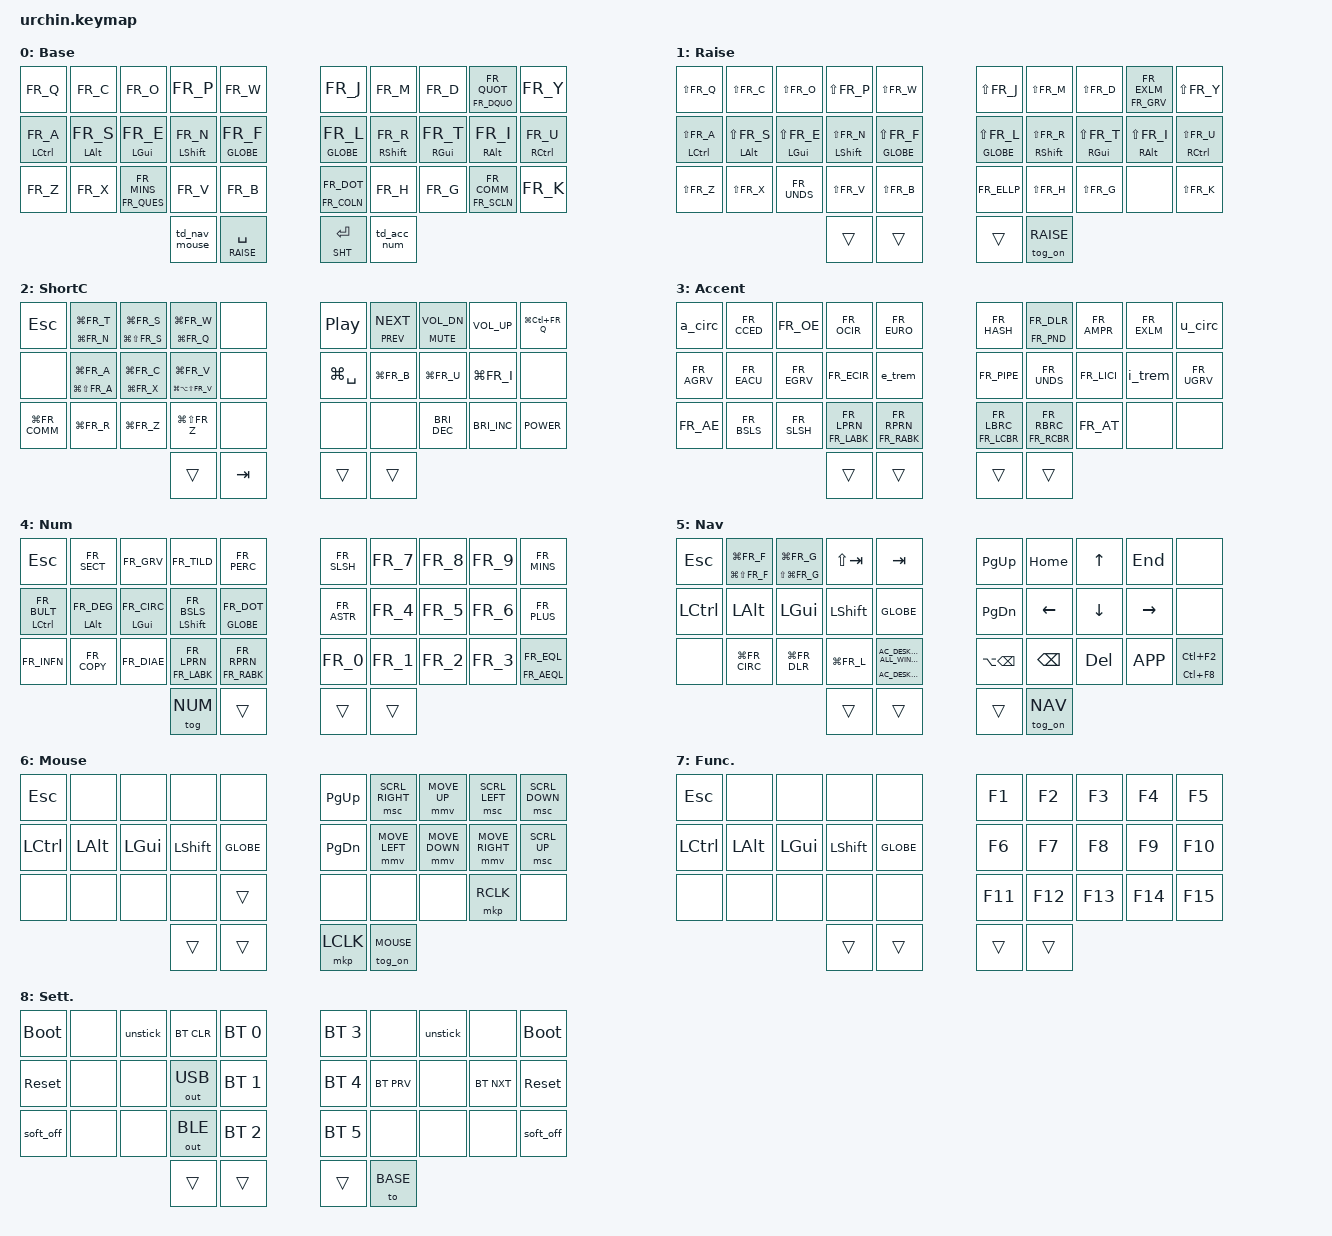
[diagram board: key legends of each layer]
/*
 * Copyright (c) 2020 duckyb
 *
 * SPDX-License-Identifier: MIT
 */

#include <behaviors.dtsi>
#include <dt-bindings/zmk/keys.h>
#include <dt-bindings/zmk/bt.h>
#include <dt-bindings/zmk/outputs.h>
#include <dt-bindings/zmk/pointing.h>
#include "keymap_french.h"

#define SHOW_WIN 	C_AC_DESKTOP_SHOW_ALL_WINDOWS
#define SHOW_APP  	C_AC_DESKTOP_SHOW_ALL_APPLICATIONS

#define TD_TIMING	500
#define QT_TIMING	300

// Layer definitions
#define BASE 0
#define RAISE 1
#define SHT 2
#define ACCENT 3
#define NUM 4
#define NAV 5
#define MOUSE 6
#define FNC 7
#define SETTINGS 8
// -----------------


&lt {
    tapping-term-ms = <300>; 
};

&sk {
	// don't release mods on other mods presses
	ignore-modifiers;
	quick-release; 
};


/ {
	behaviors {
		// Enables switching between layers NAV and Function
		// by performing a tap-dance sequence.
		td_nav_mouse: td_nav_mouse {
            compatible = "zmk,behavior-tap-dance";
            #binding-cells = <0>;
            tapping-term-ms = <TD_TIMING>;
            bindings = <&mo NAV>, <&mo MOUSE>;
        };

		// Enables switching between layers Accent and Numbers
		// by performing a tap-dance sequence.
		td_acc_num: td_acc_num {
            compatible = "zmk,behavior-tap-dance";
            #binding-cells = <0>;
            tapping-term-ms = <TD_TIMING>;
            bindings = <&mo ACCENT>, <&mo NUM>;
        };
        tog_on: toggle_layer_on_only {
            compatible = "zmk,behavior-toggle-layer";
            #binding-cells = <1>;
            display-name = "Toggle Layer";
            locking;
        };
		// Enables holding the first mod-tap key
		// by performing a tap-release-hold sequence.
		// To use it: "&qt KEYCODE1 KEYCODE2"
		qt: quick_tap {
			compatible = "zmk,behavior-hold-tap";
			#binding-cells = <2>;
			flavor = "tap-preferred";
			tapping-term-ms = <QT_TIMING>;
			quick-tap-ms = <QT_TIMING>;
			bindings = <&kp>, <&kp>;
		};

		// Enables holding the first mod-tap key
		// by performing a tap-release-hold sequence.
		// To use it: "&hrm KEYCODE1 KEYCODE2"
		hrm: hrm_tap {
			compatible = "zmk,behavior-hold-tap";
			#binding-cells = <2>;
			flavor = "tap-preferred";
			tapping-term-ms = <TD_TIMING>;
			quick-tap-ms = <TD_TIMING>;
			bindings = <&kp>, <&kp>;
		};

	};

	macros {
		// sometimes my device thinks a modifier is being held down
		// pressing all modifiers fixes it.
		unstick: unstick {
			compatible = "zmk,behavior-macro";
			#binding-cells = <0>;
			bindings = <&kp LSHIFT &kp RSHIFT &kp LCTRL &kp RCTRL &kp LALT &kp RALT &kp LGUI &kp RGUI>;
		};

		// Accents macro
		a_circ: a_circ {
			compatible = "zmk,behavior-macro";
			#binding-cells = <0>;
			wait-ms = <40>;
			tap-ms = <40>;
			bindings
    		= <&macro_tap     &kp FR_CIRC &kp FR_A>
    		;
		};
		u_circ: u_circ {
			compatible = "zmk,behavior-macro";
			#binding-cells = <0>;
			wait-ms = <40>;
			tap-ms = <40>;
			bindings
    		= <&macro_tap     &kp FR_CIRC &kp FR_U>
    		;
		};

		e_trem: e_trem {
			compatible = "zmk,behavior-macro";
			#binding-cells = <0>;
			wait-ms = <40>;
			tap-ms = <40>;
			bindings
    		= <&macro_tap     &kp FR_DIAE &kp FR_E>
    		;
		};
		i_trem: i_trem {
			compatible = "zmk,behavior-macro";
			#binding-cells = <0>;
			wait-ms = <40>;
			tap-ms = <40>;
			bindings
    		= <&macro_tap     &kp FR_DIAE &kp FR_I>
    		;
		};
	};
	combos {
		compatible = "zmk,combos";
		// both external thumb keys
		combo_num {
			timeout-ms = <200>;
			key-positions = <30 33>;
			bindings = <&mo NUM>;
		};

		// both left thumb keys
		combo_settings {
			timeout-ms = <200>;
			key-positions = <30 31>;
			bindings = <&mo SETTINGS>;
		};
		// func
		combo_func {
			timeout-ms = <200>;
			key-positions = <32 33>;
			bindings = <&mo FNC>;
		};
	};

	keymap {
		compatible = "zmk,keymap";
		// Base alpha layer
		default_layer {
			display-name = "Base";
			bindings = <
			&kp FR_Q 		&kp FR_C 		&kp FR_O						&kp FR_P 			&kp FR_W							&kp FR_J  				&kp FR_M  			&kp FR_D		&qt FR_DQUO FR_QUOT		&kp FR_Y 
			&hrm LCTRL FR_A &hrm LALT FR_S 	&hrm LGUI FR_E	 				&hrm LSHIFT FR_N 	&hrm GLOBE FR_F    					&hrm GLOBE FR_L  		&hrm RSHIFT FR_R	&hrm RGUI FR_T	&hrm RALT FR_I			&hrm RCTRL FR_U
			&kp FR_Z 		&kp FR_X 		&qt FR_QUES FR_MINS 			&kp FR_V 			&kp FR_B         					&qt FR_COLN FR_DOT 		&kp FR_H 			&kp FR_G		&qt FR_SCLN FR_COMM		&kp FR_K
							           															&td_nav_mouse  &lt RAISE SPACE   	&lt SHT ENTER 			&td_acc_num
			>;
		};
    
		// Raised alpha layer
		raise_layer {
			display-name = "Raise";
			bindings = <
			&kp LS(FR_Q) 		&kp LS(FR_C) 		&kp LS(FR_O)			&kp LS(FR_P) 			&kp LS(FR_W)							&kp LS(FR_J)  				&kp LS(FR_M)  			&kp LS(FR_D)		&qt FR_GRV FR_EXLM		&kp LS(FR_Y) 
			&hrm LCTRL LS(FR_A) &hrm LALT LS(FR_S) 	&hrm LGUI LS(FR_E)	 	&hrm LSHIFT LS(FR_N) 	&hrm GLOBE LS(FR_F)    					&hrm GLOBE LS(FR_L)  		&hrm RSHIFT LS(FR_R)	&hrm RGUI LS(FR_T)	&hrm RALT LS(FR_I)		&hrm RCTRL LS(FR_U)
			&kp LS(FR_Z) 		&kp LS(FR_X) 		&kp FR_UNDS 			&kp LS(FR_V) 			&kp LS(FR_B)         					&kp FR_ELLP			 		&kp LS(FR_H) 			&kp LS(FR_G)		&none					&kp LS(FR_K)
							           																&trans  &trans   						&trans &tog_on RAISE
		>;
		};

		// Used for system short cuts
		shortcuts_layer {
			display-name = "ShortC";
			bindings = <
			&kp ESC				&qt LG(FR_N) LG(FR_T)		&qt LG(LS(FR_S)) LG(FR_S) 	&qt LG(FR_Q) LG(FR_W)			&none					&kp	C_PLAY_PAUSE	&qt C_PREV C_NEXT 	&qt C_MUTE C_VOL_DN 	&kp C_VOL_UP		&kp LG(LC(FR_Q))
			&none				&qt LG(LS(FR_A)) LG(FR_A) 	&qt LG(FR_X) LG(FR_C)  		&qt LG(LA(LS(FR_V))) LG(FR_V)	&none  					&kp LG(SPACE)		&kp LG(FR_B)		&kp LG(FR_U)			&kp LG(FR_I) 		&none 
			&kp LG(FR_COMM)		&kp LG(FR_R)				&kp LG(FR_Z)				&kp LG(LS(FR_Z))				&none					&none				&none 				&kp C_BRI_DEC 			&kp C_BRI_INC		&kp C_POWER
																														&trans  &kp TAB			&trans 		&trans 
			>;
		};


		// Used to type french accents and high frequency symbols
		accent_layer {
			display-name = "Accent";
			bindings = <
			&a_circ		  		&kp FR_CCED 		&kp FR_OE 			&kp FR_OCIR  			&kp FR_EURO         			&kp FR_HASH  		&qt FR_PND FR_DLR 	&kp FR_AMPR 	&kp FR_EXLM 	&u_circ 
			&kp FR_AGRV  		&kp FR_EACU 		&kp FR_EGRV 		&kp FR_ECIR 			&e_trem 		  				&kp FR_PIPE  		&kp FR_UNDS 		&kp FR_LICI 	&i_trem 	 	&kp FR_UGRV
			&kp FR_AE 			&kp FR_BSLS   		&kp FR_SLSH 		&qt FR_LABK FR_LPRN 	&qt FR_RABK FR_RPRN         	&qt FR_LCBR FR_LBRC &qt FR_RCBR FR_RBRC &kp FR_AT 		&none  			&none
																								&trans  &trans   				&trans &trans 
			>;
		};
		
		// Numbers and high frequency symbols
		num_layer {
			display-name = "Num";
			bindings = <
			&kp ESC				&kp FR_SECT			&kp FR_GRV			&kp FR_TILD				&kp FR_PERC							&kp FR_SLSH 		&kp FR_7 		&kp FR_8 		&kp FR_9 		&kp FR_MINS
			&hrm LCTRL FR_BULT	&hrm LALT FR_DEG	&hrm LGUI FR_CIRC	&hrm LSHIFT FR_BSLS 	&hrm GLOBE FR_DOT					&kp FR_ASTR 		&kp FR_4 		&kp FR_5 		&kp FR_6 		&kp FR_PLUS
			&kp FR_INFN			&kp FR_COPY			&kp FR_DIAE			&qt FR_LABK FR_LPRN		&qt FR_RABK FR_RPRN					&kp FR_0 			&kp FR_1 		&kp FR_2 		&kp FR_3 		&qt FR_AEQL FR_EQL
																								&tog NUM  &trans					&trans &trans
			>;
		};

		// Main modifiers and arrow key
		nav_layer {
			display-name = "Nav";
			bindings = <
			&kp ESC			&qt LG(LS(FR_F)) LG(FR_F)	&qt LS(LG(FR_G)) LG(FR_G)	&kp LS(TAB)		&kp TAB						&kp PG_UP		&kp HOME		&kp UP		&kp END			&none
			&kp LCTRL		&kp LALT					&kp LGUI					&kp LSHIFT		&kp GLOBE					&kp PG_DN		&kp LEFT		&kp DOWN	&kp RIGHT		&none
			&none			&kp LG(FR_CIRC) 			&kp LG(FR_DLR)				&kp LG(FR_L)	&qt SHOW_APP SHOW_WIN 		&kp LA(BSPC)	&kp BSPC		&kp DEL		&kp K_APP		&qt LC(F8) LC(F2)
																									&trans &trans	    		&trans  &tog_on NAV
			>;
		};

		// Mouse
		mouse_layer {
			display-name = "Mouse";
			bindings = <
			&kp ESC			&none		&none		&none		&none					&kp PG_UP 		&msc SCRL_RIGHT		&mmv MOVE_UP 		&msc SCRL_LEFT		&msc SCRL_DOWN
			&kp LCTRL		&kp LALT	&kp LGUI	&kp LSHIFT	&kp GLOBE				&kp PG_DN		&mmv MOVE_LEFT 		&mmv MOVE_DOWN 		&mmv MOVE_RIGHT 	&msc SCRL_UP
			&none			&none		&none		&none		&trans					&none			&none				&none				&mkp RCLK 			&none
																&trans &trans			&mkp LCLK		&tog_on MOUSE
			>;
		};

		// Function keys with modifiers
		fnc_layer {
			display-name = "Func.";
			bindings = <
			&kp ESC  	&none 		&none  		&none   	&none			&kp F1 		&kp F2 		&kp F3 		&kp F4 		&kp F5           
			&kp LCTRL	&kp LALT	&kp LGUI	&kp LSHIFT	&kp GLOBE		&kp F6 		&kp F7 		&kp F8 		&kp F9 		&kp F10
			&none		&none 		&none  		&none   	&none			&kp F11 	&kp F12 	&kp F13 	&kp F14 	&kp F15
							  							&trans &trans 		&trans &trans  
			>;
		};

		// Used to change the keyboard's settings.
		settings_layer {
				display-name = "Sett.";
				bindings = <
				&bootloader		&none		&unstick 	&bt BT_CLR 			&bt BT_SEL 0			&bt BT_SEL 3 		&none 		&unstick 		&none 		&bootloader 
				&sys_reset		&none 		&none 		&out OUT_USB		&bt BT_SEL 1			&bt BT_SEL 4 		&bt BT_PRV	&none 	  		&bt BT_NXT 		&sys_reset
				&soft_off		&none 		&none 		&out OUT_BLE		&bt BT_SEL 2			&bt BT_SEL 5 		&none 		&none 	  		&none 		&soft_off
																&trans &trans			&trans &to BASE
				>;
		};
	};
};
